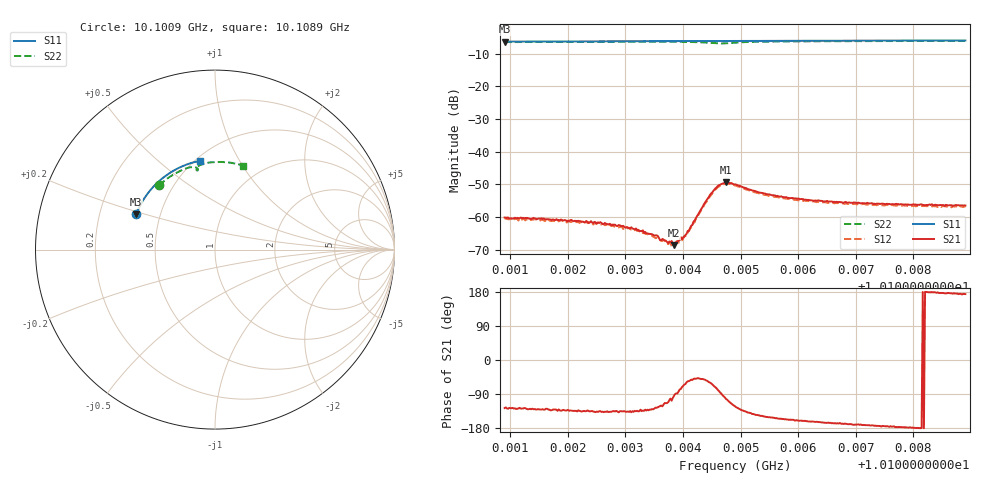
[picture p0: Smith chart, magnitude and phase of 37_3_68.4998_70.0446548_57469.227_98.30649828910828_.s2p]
#  HZ  S  RI  R  50.00
! Rohde & Schwarz Vector Network Analyzer
! Rohde-Schwarz,ZNB20-2Port,1311601062101988,3.16
! Created: UTC 3/20/2024, 5:05:20 PM
! freq[Hz]  re:S11  im:S11  re:S21  im:S21  re:S12  im:S12  re:S22  im:S22
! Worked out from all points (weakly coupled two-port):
!   401 points, 10.1009 GHz to 10.1089 GHz, reference 50 ohm
!   highest |S21| = -49.45 dB at 10.10474 GHz (marker M1); lowest = -68.7 dB at 10.10384 GHz (marker M2)
!   lowest |S11| = -6.4 dB at 10.1009 GHz (marker M3), VSWR 2.86, Z = 18.2 + j9.36 ohm
!   |S11| at or under -10 dB: nowhere
!   |S22| runs from -6.9 to -6.1 dB; largest |S21 - S12| = 0.00036
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1.0100902e10  -0.439 0.1975  -0.000588 -0.000785  -0.000487 -0.000818  -0.3107 0.3578
1.0101862e10  -0.4145 0.2508  -0.000608 -0.000649  -0.000547 -0.000689  -0.2629 0.3978
1.0102242e10  -0.403 0.2708  -0.000604 -0.000585  -0.000536 -0.000638  -0.2424 0.4118
1.0102362e10  -0.3993 0.2772  -0.00057 -0.000572  -0.000531 -0.000642  -0.2358 0.4159
1.0102922e10  -0.3804 0.3053  -0.000514 -0.000518  -0.000491 -0.000511  -0.2035 0.4341
1.0103062e10  -0.3752 0.3123  -0.000493 -0.000459  -0.000455 -0.000513  -0.1952 0.4383
1.0103522e10  -0.3578 0.334  -0.000306 -0.000426  -0.000257 -0.000398  -0.1662 0.4506
1.0103582e10  -0.3553 0.3369  -0.000261 -0.000401  -0.000211 -0.000418  -0.1621 0.4519
1.0103762e10  -0.3482 0.345  -0.000116 -0.000406  -9.45e-05 -0.00039  -0.1498 0.4558
1.0103842e10  -0.3449 0.3486  -2.88e-05 -0.000366  -1.61e-05 -0.000399  -0.1439 0.4574
1.0103882e10  -0.3433 0.3503  1.38e-05 -0.00042  4.47e-05 -0.000389  -0.141 0.458
1.0103942e10  -0.3408 0.3531  9.22e-05 -0.000431  0.000102 -0.000395  -0.1367 0.459
1.0104063e10  -0.3357 0.3584  0.000288 -0.000474  0.000316 -0.000439  -0.1272 0.46
1.0104383e10  -0.3218 0.3719  0.00102 -0.00131  0.0011 -0.00118  -0.1014 0.4553
1.0104523e10  -0.3156 0.3775  0.000996 -0.00227  0.00113 -0.00209  -0.0949 0.4466
1.0104623e10  -0.3112 0.3816  0.000425 -0.00302  0.000677 -0.00284  -0.0963 0.4413
1.0104743e10  -0.3057 0.3863  -0.000692 -0.0033  -0.000345 -0.0032  -0.1023 0.4423
1.0104903e10  -0.2985 0.3927  -0.00168 -0.00267  -0.00137 -0.00271  -0.1024 0.4534
1.0105463e10  -0.2717 0.4134  -0.00194 -0.0011  -0.00176 -0.00123  -0.0667 0.4774
1.0106243e10  -0.2319 0.4391  -0.00171 -0.000552  -0.0016 -0.000648  -0.0137 0.4869
1.0107584e10  -0.1587 0.4735  -0.00158 -0.000106  -0.00149 -0.000276  0.0738 0.4856
1.0108904e10  -0.0818 0.4951  -0.00149 0.000157  -0.00141 -1.91e-05  0.1565 0.4685
